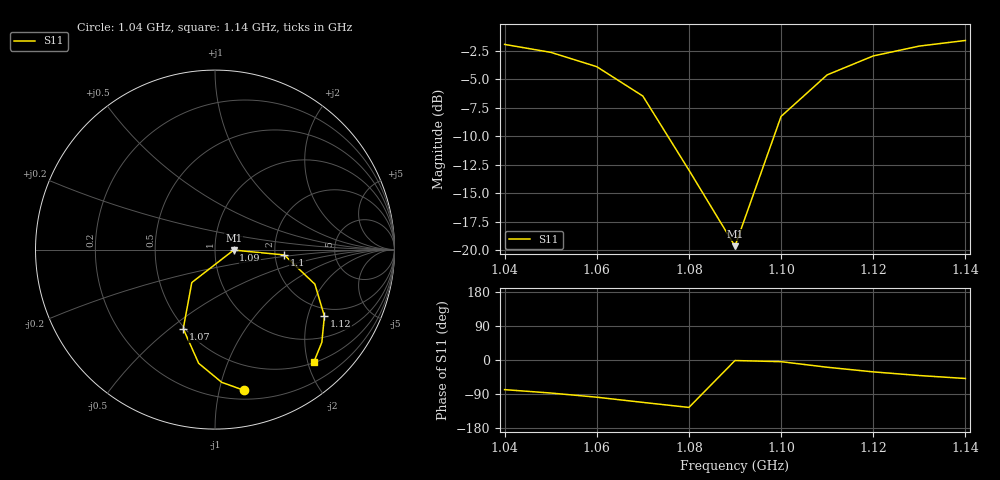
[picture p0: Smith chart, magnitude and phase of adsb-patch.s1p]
! EMCraft S-parameters
! the adsb-patch template's feed, solved by solve.radiation_sweep (order 2)
! ports: 1
# GHz S RI R 50
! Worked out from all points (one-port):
!   11 points, 1.04 GHz to 1.14 GHz, reference 50 ohm
!   lowest |S11| = -19.7 dB at 1.09 GHz (marker M1), VSWR 1.23, Z = 61.6 - j0.319 ohm
!   |S11| at or under -10 dB: 1.075 GHz to 1.098 GHz (23.04 MHz wide, 2.12 % of centre)
!   S11 on the Smith chart (normalised r, x): 1.04 GHz: 0.27, -1.19; 1.07 GHz: 0.49, -0.56; 1.09 GHz: 1.23, -0.01; 1.1 GHz: 2.25, -0.16; 1.12 GHz: 1.69, -2.56; 1.14 GHz: 0.51, -2.10
1.04  0.1638 -0.7849
1.05  0.0371 -0.7393
1.06  -0.091 -0.6334
1.07  -0.1769 -0.4411
1.08  -0.1293 -0.1835
1.09  0.1039 -0.00256
1.1  0.3856 -0.0297
1.11  0.5566 -0.1928
1.12  0.6096 -0.3709
1.13  0.5952 -0.5171
1.14  0.5499 -0.6279
